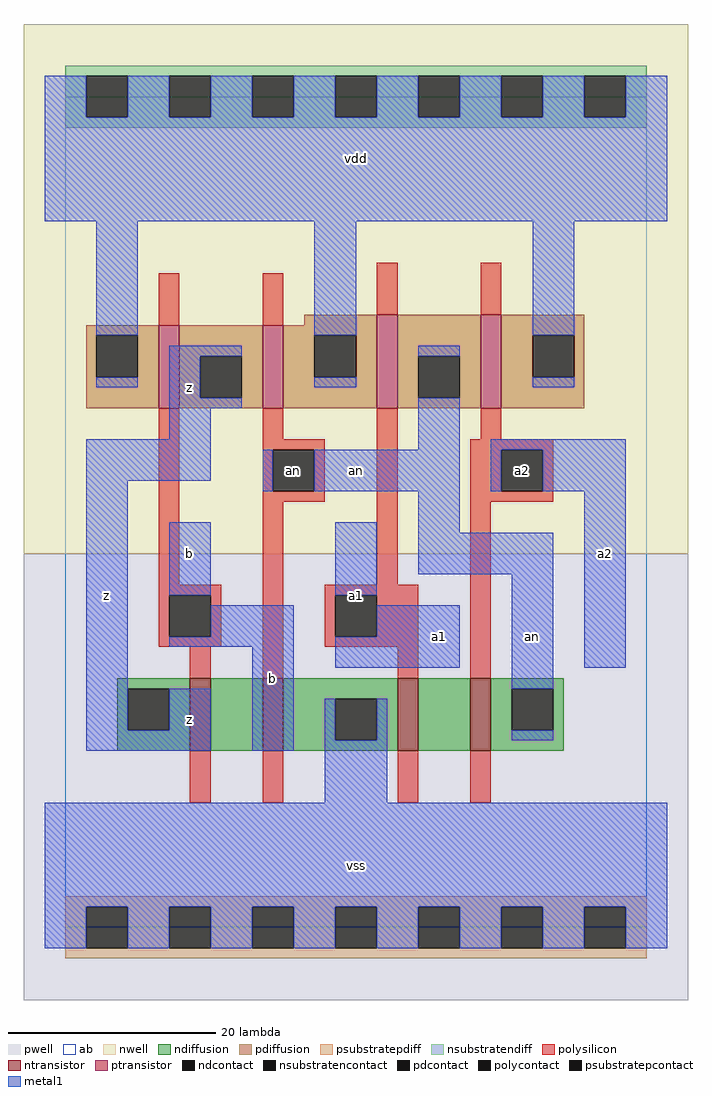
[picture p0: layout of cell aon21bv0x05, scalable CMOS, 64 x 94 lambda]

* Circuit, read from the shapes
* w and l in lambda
.subckt aon21bv0x05 a1 a2 an b vdd vss z
M1 n1 b z vss nfet w=7 l=2
M2 vss an n1 vss nfet w=7 l=2
M3 n2 a1 vss vss nfet w=7 l=2
M4 an a2 n2 vss nfet w=7 l=2
M5 z b vdd vdd pfet w=8 l=2
M6 vdd an z vdd pfet w=8 l=2
M7 an a1 vdd vdd pfet w=9 l=2
M8 vdd a2 an vdd pfet w=9 l=2
.ends

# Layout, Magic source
magic
tech scmos
<< ab >>
rect 0 0 56 80
<< pwell >>
rect -4 -7 60 36
<< nwell >>
rect -4 36 60 87
<< polysilicon >>
rect 9 58 11 63
rect 19 58 21 63
rect 30 59 32 64
rect 40 59 42 64
rect 9 33 11 50
rect 19 47 21 50
rect 19 46 25 47
rect 19 42 20 46
rect 24 42 25 46
rect 19 41 25 42
rect 9 32 15 33
rect 9 28 10 32
rect 14 28 15 32
rect 9 27 15 28
rect 12 24 14 27
rect 19 24 21 41
rect 30 33 32 50
rect 40 47 42 50
rect 39 46 47 47
rect 39 42 42 46
rect 46 42 47 46
rect 39 41 47 42
rect 25 32 34 33
rect 25 28 26 32
rect 30 28 34 32
rect 25 27 34 28
rect 32 24 34 27
rect 39 24 41 41
rect 12 12 14 17
rect 19 12 21 17
rect 32 12 34 17
rect 39 12 41 17
<< ndiffusion >>
rect 5 23 12 24
rect 5 19 6 23
rect 10 19 12 23
rect 5 17 12 19
rect 14 17 19 24
rect 21 22 32 24
rect 21 18 26 22
rect 30 18 32 22
rect 21 17 32 18
rect 34 17 39 24
rect 41 23 48 24
rect 41 19 43 23
rect 47 19 48 23
rect 41 17 48 19
<< pdiffusion >>
rect 23 58 30 59
rect 2 57 9 58
rect 2 53 3 57
rect 7 53 9 57
rect 2 50 9 53
rect 11 55 19 58
rect 11 51 13 55
rect 17 51 19 55
rect 11 50 19 51
rect 21 57 30 58
rect 21 53 24 57
rect 28 53 30 57
rect 21 50 30 53
rect 32 55 40 59
rect 32 51 34 55
rect 38 51 40 55
rect 32 50 40 51
rect 42 57 50 59
rect 42 53 45 57
rect 49 53 50 57
rect 42 50 50 53
<< metal1 >>
rect -2 78 2 82
rect 6 78 10 82
rect 14 78 18 82
rect 22 78 26 82
rect 30 78 34 82
rect 38 78 42 82
rect 46 78 50 82
rect 54 78 58 82
rect -2 68 58 78
rect 3 57 7 68
rect 24 57 28 68
rect 3 52 7 53
rect 10 55 17 56
rect 10 51 13 55
rect 45 57 49 68
rect 24 52 28 53
rect 34 55 38 56
rect 10 50 17 51
rect 45 52 49 53
rect 10 47 14 50
rect 2 43 14 47
rect 34 46 38 51
rect 2 19 6 43
rect 19 42 20 46
rect 24 42 38 46
rect 41 46 54 47
rect 41 42 42 46
rect 46 42 54 46
rect 10 32 14 39
rect 26 32 30 39
rect 34 38 38 42
rect 34 34 47 38
rect 14 28 22 31
rect 10 27 22 28
rect 10 19 14 23
rect 2 17 14 19
rect 18 17 22 27
rect 30 28 38 31
rect 26 25 38 28
rect 43 23 47 34
rect 50 25 54 42
rect 25 18 26 22
rect 30 18 31 22
rect 43 18 47 19
rect 25 12 31 18
rect -2 2 58 12
rect -2 -2 2 2
rect 6 -2 10 2
rect 14 -2 18 2
rect 22 -2 26 2
rect 30 -2 34 2
rect 38 -2 42 2
rect 46 -2 50 2
rect 54 -2 58 2
<< ntransistor >>
rect 12 17 14 24
rect 19 17 21 24
rect 32 17 34 24
rect 39 17 41 24
<< ptransistor >>
rect 9 50 11 58
rect 19 50 21 58
rect 30 50 32 59
rect 40 50 42 59
<< polycontact >>
rect 20 42 24 46
rect 10 28 14 32
rect 42 42 46 46
rect 26 28 30 32
<< ndcontact >>
rect 6 19 10 23
rect 26 18 30 22
rect 43 19 47 23
<< pdcontact >>
rect 3 53 7 57
rect 13 51 17 55
rect 24 53 28 57
rect 34 51 38 55
rect 45 53 49 57
<< psubstratepcontact >>
rect 2 -2 6 2
rect 10 -2 14 2
rect 18 -2 22 2
rect 26 -2 30 2
rect 34 -2 38 2
rect 42 -2 46 2
rect 50 -2 54 2
<< nsubstratencontact >>
rect 2 78 6 82
rect 10 78 14 82
rect 18 78 22 82
rect 26 78 30 82
rect 34 78 38 82
rect 42 78 46 82
rect 50 78 54 82
<< psubstratepdiff >>
rect 0 2 56 3
rect 0 -2 2 2
rect 6 -2 10 2
rect 14 -2 18 2
rect 22 -2 26 2
rect 30 -2 34 2
rect 38 -2 42 2
rect 46 -2 50 2
rect 54 -2 56 2
rect 0 -3 56 -2
<< nsubstratendiff >>
rect 0 82 56 83
rect 0 78 2 82
rect 6 78 10 82
rect 14 78 18 82
rect 22 78 26 82
rect 30 78 34 82
rect 38 78 42 82
rect 46 78 50 82
rect 54 78 56 82
rect 0 77 56 78
<< labels >>
rlabel polycontact 22 44 22 44 6 an
rlabel metal1 4 32 4 32 6 z
rlabel metal1 12 20 12 20 6 z
rlabel metal1 12 36 12 36 6 b
rlabel metal1 20 24 20 24 6 b
rlabel metal1 12 52 12 52 6 z
rlabel metal1 28 6 28 6 6 vss
rlabel metal1 28 32 28 32 6 a1
rlabel metal1 36 28 36 28 6 a1
rlabel metal1 28 44 28 44 6 an
rlabel metal1 28 74 28 74 6 vdd
rlabel metal1 45 28 45 28 6 an
rlabel metal1 52 36 52 36 6 a2
rlabel polycontact 44 44 44 44 6 a2
<< end >>
